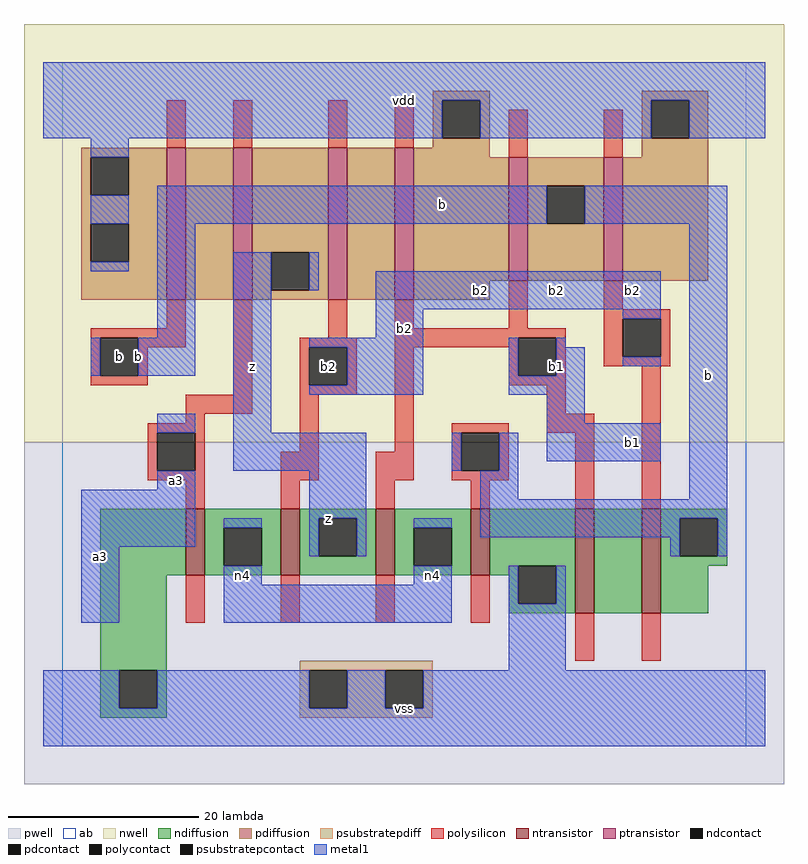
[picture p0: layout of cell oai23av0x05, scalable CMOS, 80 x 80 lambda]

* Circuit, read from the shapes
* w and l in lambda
.subckt oai23av0x05 a3 b b1 b2 n4 vdd vss z
M1 n4 a3 vss vss nfet w=7 l=2
M2 z b2 n4 vss nfet w=7 l=2
M3 n4 b1 z vss nfet w=7 l=2
M4 vss b n4 vss nfet w=7 l=2
M5 n1 b1 vss vss nfet w=11 l=2
M6 b b2 n1 vss nfet w=11 l=2
M7 n2 b vdd n3 pfet w=16 l=2
M8 z a3 n2 n3 pfet w=16 l=2
M9 n5 b2 z n3 pfet w=16 l=2
M10 vdd b1 n5 n3 pfet w=16 l=2
M11 b b1 vdd n3 pfet w=13 l=2
M12 vdd b2 b n3 pfet w=13 l=2
.ends

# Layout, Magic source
magic
tech scmos
<< ab >>
rect 0 0 72 72
<< pwell >>
rect -4 -4 76 32
<< nwell >>
rect -4 32 76 76
<< polysilicon >>
rect 11 63 13 68
rect 18 63 20 68
rect 28 63 30 68
rect 35 63 37 68
rect 47 62 49 67
rect 57 62 59 67
rect 11 44 13 47
rect 3 43 13 44
rect 3 39 4 43
rect 8 42 13 43
rect 8 39 9 42
rect 3 38 9 39
rect 18 37 20 47
rect 28 43 30 47
rect 35 44 37 47
rect 47 44 49 49
rect 57 46 59 49
rect 57 45 64 46
rect 35 43 53 44
rect 13 35 20 37
rect 25 42 31 43
rect 25 38 26 42
rect 30 38 31 42
rect 25 37 31 38
rect 35 42 48 43
rect 13 34 15 35
rect 9 33 15 34
rect 9 29 10 33
rect 14 29 15 33
rect 25 31 27 37
rect 35 31 37 42
rect 47 39 48 42
rect 52 39 53 43
rect 57 41 59 45
rect 63 41 64 45
rect 57 40 64 41
rect 47 38 53 39
rect 51 35 53 38
rect 9 28 15 29
rect 13 25 15 28
rect 23 28 27 31
rect 33 28 37 31
rect 41 33 47 34
rect 51 33 56 35
rect 41 29 42 33
rect 46 29 47 33
rect 41 28 47 29
rect 23 25 25 28
rect 33 25 35 28
rect 43 25 45 28
rect 54 25 56 33
rect 61 25 63 40
rect 13 13 15 18
rect 23 13 25 18
rect 33 13 35 18
rect 43 13 45 18
rect 54 9 56 14
rect 61 9 63 14
<< ndiffusion >>
rect 4 18 13 25
rect 15 23 23 25
rect 15 19 17 23
rect 21 19 23 23
rect 15 18 23 19
rect 25 24 33 25
rect 25 20 27 24
rect 31 20 33 24
rect 25 18 33 20
rect 35 23 43 25
rect 35 19 37 23
rect 41 19 43 23
rect 35 18 43 19
rect 45 19 54 25
rect 45 18 48 19
rect 4 8 11 18
rect 47 15 48 18
rect 52 15 54 19
rect 47 14 54 15
rect 56 14 61 25
rect 63 24 70 25
rect 63 20 65 24
rect 69 20 70 24
rect 63 19 70 20
rect 63 14 68 19
rect 4 4 6 8
rect 10 4 11 8
rect 4 3 11 4
<< pdiffusion >>
rect 39 68 45 69
rect 39 64 40 68
rect 44 64 45 68
rect 61 68 68 69
rect 39 63 45 64
rect 2 62 11 63
rect 2 58 3 62
rect 7 58 11 62
rect 2 55 11 58
rect 2 51 3 55
rect 7 51 11 55
rect 2 47 11 51
rect 13 47 18 63
rect 20 52 28 63
rect 20 48 22 52
rect 26 48 28 52
rect 20 47 28 48
rect 30 47 35 63
rect 37 62 45 63
rect 61 64 62 68
rect 66 64 68 68
rect 61 62 68 64
rect 37 49 47 62
rect 49 59 57 62
rect 49 55 51 59
rect 55 55 57 59
rect 49 49 57 55
rect 59 49 68 62
rect 37 47 45 49
<< metal1 >>
rect -2 68 74 72
rect -2 64 40 68
rect 44 64 62 68
rect 66 64 74 68
rect 3 62 7 64
rect 3 55 7 58
rect 3 50 7 51
rect 10 55 51 59
rect 55 55 70 59
rect 10 43 14 55
rect 3 39 4 43
rect 8 39 14 43
rect 10 33 14 35
rect 18 33 22 52
rect 26 48 27 52
rect 33 46 63 50
rect 33 43 38 46
rect 59 45 63 46
rect 26 42 38 43
rect 30 38 38 42
rect 26 37 38 38
rect 47 39 48 43
rect 52 42 53 43
rect 52 39 55 42
rect 59 40 63 41
rect 47 37 55 39
rect 51 34 55 37
rect 18 29 32 33
rect 41 29 42 33
rect 46 29 48 33
rect 51 30 63 34
rect 10 27 14 29
rect 2 21 14 27
rect 26 24 32 29
rect 44 26 48 29
rect 66 26 70 55
rect 44 24 70 26
rect 17 23 21 24
rect 2 13 6 21
rect 26 20 27 24
rect 31 20 32 24
rect 37 23 41 24
rect 17 17 21 19
rect 44 22 65 24
rect 64 20 65 22
rect 69 20 70 24
rect 37 17 41 19
rect 17 13 41 17
rect 47 15 48 19
rect 52 15 53 19
rect 47 8 53 15
rect -2 4 6 8
rect 10 4 26 8
rect 30 4 34 8
rect 38 4 74 8
rect -2 0 74 4
<< ntransistor >>
rect 13 18 15 25
rect 23 18 25 25
rect 33 18 35 25
rect 43 18 45 25
rect 54 14 56 25
rect 61 14 63 25
<< ptransistor >>
rect 11 47 13 63
rect 18 47 20 63
rect 28 47 30 63
rect 35 47 37 63
rect 47 49 49 62
rect 57 49 59 62
<< polycontact >>
rect 4 39 8 43
rect 26 38 30 42
rect 10 29 14 33
rect 48 39 52 43
rect 59 41 63 45
rect 42 29 46 33
<< ndcontact >>
rect 17 19 21 23
rect 27 20 31 24
rect 37 19 41 23
rect 48 15 52 19
rect 65 20 69 24
rect 6 4 10 8
<< pdcontact >>
rect 40 64 44 68
rect 3 58 7 62
rect 3 51 7 55
rect 22 48 26 52
rect 62 64 66 68
rect 51 55 55 59
<< psubstratepcontact >>
rect 26 4 30 8
rect 34 4 38 8
<< psubstratepdiff >>
rect 25 8 39 9
rect 25 4 26 8
rect 30 4 34 8
rect 38 4 39 8
rect 25 3 39 4
<< labels >>
rlabel polycontact 6 41 6 41 6 b
rlabel metal1 4 20 4 20 6 a3
rlabel metal1 19 18 19 18 6 n4
rlabel metal1 12 28 12 28 6 a3
rlabel metal1 20 40 20 40 6 z
rlabel metal1 8 41 8 41 6 b
rlabel metal1 36 4 36 4 6 vss
rlabel metal1 39 18 39 18 6 n4
rlabel metal1 28 24 28 24 6 z
rlabel polycontact 28 40 28 40 6 b2
rlabel metal1 36 44 36 44 6 b2
rlabel metal1 36 68 36 68 6 vdd
rlabel metal1 52 40 52 40 6 b1
rlabel metal1 44 48 44 48 6 b2
rlabel metal1 52 48 52 48 6 b2
rlabel metal1 60 32 60 32 6 b1
rlabel metal1 60 48 60 48 6 b2
rlabel metal1 40 57 40 57 6 b
rlabel metal1 68 39 68 39 6 b
<< end >>
